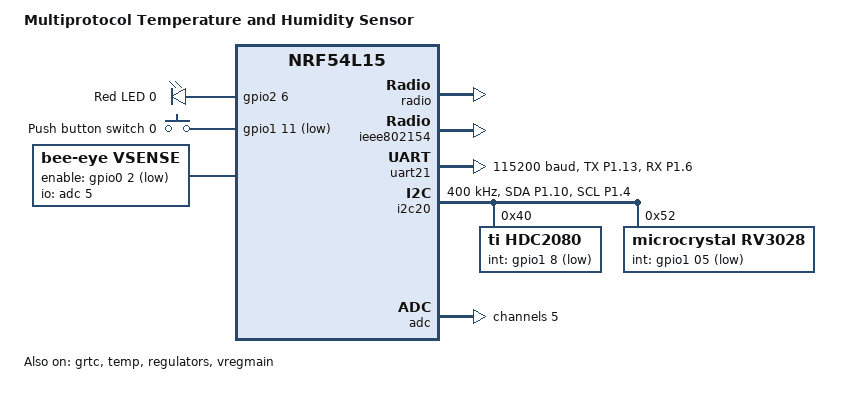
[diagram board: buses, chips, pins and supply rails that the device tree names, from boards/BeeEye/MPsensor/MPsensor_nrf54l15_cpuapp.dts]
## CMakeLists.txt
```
cmake_minimum_required(VERSION 3.20.0)


set(BEE_MANUFACTURER_NAME "BeeEye")
set(BEE_MODEL_ID "MPsensor")


# Generate compile_commands.json for C/C++ Extension
set(CMAKE_EXPORT_COMPILE_COMMANDS ON)

find_package(Zephyr REQUIRED HINTS $ENV{ZEPHYR_BASE})

project(microsensor)

# Version object library (no linking overhead)
add_library(version_obj OBJECT src/version.c)
target_link_libraries(version_obj PRIVATE zephyr_interface)

target_compile_definitions(version_obj PRIVATE
    BEE_MANUFACTURER_NAME="${BEE_MANUFACTURER_NAME}"
    BEE_MODEL_ID="${BEE_MODEL_ID}"
)

file(GLOB app_sources CONFIGURE_DEPENDS
    src/main.c        
    src/ble_server.c  
    src/rtc.c                
    src/deep_sleep.c  
    src/rtc_rv3028_addons.c  
    src/vsense.c    
    src/sensor_hdc2080.c     
    src/zigbee_sensor.c
)

target_sources(app PRIVATE ${app_sources})
target_link_libraries(app PRIVATE version_obj)

# Strict compile checks
target_compile_options(app PRIVATE
    -Wall
    -Wextra

    # 1) No implicit function declarations
    -Werror=implicit-function-declaration

    # 2) Non-void function must return on all paths
    -Werror=return-type
)
```

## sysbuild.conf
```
SB_CONFIG_PARTITION_MANAGER=y
SB_CONFIG_BOOTLOADER_MCUBOOT=y
SB_CONFIG_BOOT_SIGNATURE_TYPE_ECDSA_P256=y
SB_CONFIG_BOOT_SIGNATURE_TYPE_RSA=n
SB_CONFIG_BOOT_SIGNATURE_KEY_FILE="\${APPLICATION_CONFIG_DIR}/key.pem"
```

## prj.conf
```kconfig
# Peripherals I need
CONFIG_GPIO=y
CONFIG_SENSOR=y
CONFIG_RTC=y
CONFIG_RTC_ALARM=y
CONFIG_I2C=y
CONFIG_ADC=y
CONFIG_ADC_NRFX_SAADC=y

# BLE
CONFIG_BT=y
CONFIG_BT_HCI=y
CONFIG_BT_CTLR=y
CONFIG_BT_EXT_ADV=y
# CONFIG_BT_PER_ADV=y
# CONFIG_BT_BROADCASTER=y
CONFIG_BT_PERIPHERAL=y
CONFIG_BT_DEVICE_NAME="BeeEyeSensor"
CONFIG_BT_DEVICE_APPEARANCE=833
CONFIG_BT_LL_SOFTDEVICE=y
# CONFIG_BT_CTLR_ADVANCED_FEATURES=y
# CONFIG_BT_CTLR_TX_PWR_DYNAMIC_CONTROL=y

# Sytem options
# CONFIG_CLOCK_CONTROL_NRF_K32SRC_XTAL=y
# CONFIG_CLOCK_CONTROL_NRF_K32SRC_RC=n
# CONFIG_CLOCK_CONTROL_NRF_K32SRC_SYNTH=n
CONFIG_NRF_GRTC_START_SYSCOUNTER=y
CONFIG_POWEROFF=y
CONFIG_REBOOT=y
CONFIG_HWINFO=y
CONFIG_PM_DEVICE=y
CONFIG_TICKLESS_KERNEL=y
CONFIG_MINIMAL_LIBC=y
CONFIG_MINIMAL_LIBC_TIME=y
CONFIG_SYSTEM_WORKQUEUE_STACK_SIZE=2304
CONFIG_MAIN_STACK_SIZE=2176
CONFIG_HEAP_MEM_POOL_SIZE=2048
CONFIG_MAIN_THREAD_PRIORITY=7

# Disable features I don't need
CONFIG_SPI=n
CONFIG_PWM=n

# UART
CONFIG_SERIAL=y
CONFIG_UART_INTERRUPT_DRIVEN=y

# LOGGGY
CONFIG_CONSOLE=y
CONFIG_UART_CONSOLE=y
CONFIG_PRINTK=y
CONFIG_LOG=y
# CONFIG_ASSERT=y
# CONFIG_ASSERT_VERBOSE=y

## Configure MCU MGR for FOTA over BLE ##
CONFIG_BOOTLOADER_MCUBOOT=y
CONFIG_MCUMGR=y
CONFIG_MCUMGR_TRANSPORT_BT=y
CONFIG_MCUMGR_GRP_IMG=y
CONFIG_MCUMGR_GRP_OS=y
CONFIG_IMG_MANAGER=y
CONFIG_FLASH=y
CONFIG_FLASH_MAP=y
CONFIG_STREAM_FLASH=y
CONFIG_NET_BUF=y
CONFIG_ZCBOR=y
CONFIG_CRC=y
CONFIG_BT_BUF_ACL_RX_SIZE=251
CONFIG_BT_BUF_ACL_TX_SIZE=251
CONFIG_BT_L2CAP_TX_MTU=247
CONFIG_BT_CTLR_DATA_LENGTH_MAX=251

## Zigbee R23 add-on
CONFIG_ZIGBEE_ADD_ON=y
CONFIG_ZIGBEE_APP_UTILS=y
CONFIG_ZIGBEE_ROLE_END_DEVICE=y
CONFIG_ZIGBEE_CHANNEL_SELECTION_MODE_MULTI=y
CONFIG_ZIGBEE_CHANNEL_MASK=0x00000800

## Persistent storage (Zigbee NVRAM)
CONFIG_SETTINGS=y
CONFIG_FLASH=y
CONFIG_FLASH_PAGE_LAYOUT=y
CONFIG_FLASH_MAP=y
CONFIG_ZMS=y
CONFIG_BT_SETTINGS=n

## Disable IPv6 (or everything crashes)
CONFIG_NET_IPV6=n
CONFIG_NET_IP_ADDR_CHECK=n
CONFIG_NET_UDP=n
```

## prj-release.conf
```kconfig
# Peripherals I need
CONFIG_GPIO=y
CONFIG_SENSOR=y
CONFIG_RTC=y
CONFIG_RTC_ALARM=y
CONFIG_I2C=y
CONFIG_ADC=y
CONFIG_ADC_NRFX_SAADC=y

# BLE
CONFIG_BT=y
CONFIG_BT_HCI=y
CONFIG_BT_CTLR=y
CONFIG_BT_EXT_ADV=y
# CONFIG_BT_PER_ADV=y
# CONFIG_BT_BROADCASTER=y
CONFIG_BT_PERIPHERAL=y
CONFIG_BT_DEVICE_NAME="BeeEyeSensor"
CONFIG_BT_DEVICE_APPEARANCE=833
CONFIG_BT_LL_SOFTDEVICE=y
# CONFIG_BT_CTLR_ADVANCED_FEATURES=y
# CONFIG_BT_CTLR_TX_PWR_DYNAMIC_CONTROL=y

# Sytem options
# CONFIG_CLOCK_CONTROL_NRF_K32SRC_XTAL=y
# CONFIG_CLOCK_CONTROL_NRF_K32SRC_RC=n
# CONFIG_CLOCK_CONTROL_NRF_K32SRC_SYNTH=n
CONFIG_NRF_GRTC_START_SYSCOUNTER=y
CONFIG_POWEROFF=y
CONFIG_REBOOT=y
CONFIG_HWINFO=y
CONFIG_PM_DEVICE=y
CONFIG_TICKLESS_KERNEL=y
CONFIG_MINIMAL_LIBC=y
CONFIG_MINIMAL_LIBC_TIME=y
CONFIG_SYSTEM_WORKQUEUE_STACK_SIZE=2304
CONFIG_MAIN_STACK_SIZE=2176
CONFIG_HEAP_MEM_POOL_SIZE=2048
CONFIG_MAIN_THREAD_PRIORITY=7

# Disable features I don't need
CONFIG_SPI=n
CONFIG_PWM=n

# UART
CONFIG_SERIAL=n

# LOGGGY
CONFIG_CONSOLE=n
CONFIG_UART_CONSOLE=n
CONFIG_PRINTK=y
CONFIG_LOG=n
# CONFIG_ASSERT=y
# CONFIG_ASSERT_VERBOSE=y

## Configure MCU MGR for FOTA over BLE ##
CONFIG_BOOTLOADER_MCUBOOT=y
CONFIG_MCUMGR=y
CONFIG_MCUMGR_TRANSPORT_BT=y
CONFIG_MCUMGR_GRP_IMG=y
CONFIG_MCUMGR_GRP_OS=y
CONFIG_IMG_MANAGER=y
CONFIG_FLASH=y
CONFIG_FLASH_MAP=y
CONFIG_STREAM_FLASH=y
CONFIG_NET_BUF=y
CONFIG_ZCBOR=y
CONFIG_CRC=y
CONFIG_BT_BUF_ACL_RX_SIZE=251
CONFIG_BT_BUF_ACL_TX_SIZE=251
CONFIG_BT_L2CAP_TX_MTU=247
CONFIG_BT_CTLR_DATA_LENGTH_MAX=251

## Zigbee R23 add-on
CONFIG_ZIGBEE_ADD_ON=y
CONFIG_ZIGBEE_APP_UTILS=y
CONFIG_ZIGBEE_ROLE_END_DEVICE=y
CONFIG_ZIGBEE_CHANNEL_SELECTION_MODE_MULTI=y
CONFIG_ZIGBEE_CHANNEL_MASK=0x00000800

## Persistent storage (Zigbee NVRAM)
CONFIG_SETTINGS=y
CONFIG_FLASH=y
CONFIG_FLASH_PAGE_LAYOUT=y
CONFIG_FLASH_MAP=y
CONFIG_ZMS=y
CONFIG_BT_SETTINGS=n

## Disable IPv6 (or everything crashes)
CONFIG_NET_IPV6=n
CONFIG_NET_IP_ADDR_CHECK=n
CONFIG_NET_UDP=n
```

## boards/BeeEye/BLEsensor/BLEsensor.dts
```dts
/dts-v1/;
#include <nordic/nrf52811_qfaa.dtsi>

/ {
	model = "BLEsensors";
	compatible = "nordic,nrf52811";

	chosen {
		zephyr,console = &uart0;
		zephyr,sram = &sram0;
		zephyr,flash = &flash0;
		zephyr,code-partition = &slot0_partition;
	};

	leds {
		compatible = "gpio-leds";

		led0: led_0 {
			gpios = <&gpio0 11 GPIO_ACTIVE_HIGH>;
			label = "Red LED 0";
		};
	};

	buttons {
		compatible = "gpio-keys";

		button0: button_0 {
			gpios = <&gpio0 9 GPIO_ACTIVE_LOW>; // External pull-up
			label = "Push button switch 0";
			zephyr,code = <INPUT_KEY_0>;
		};
	};
};

// &clock {
// 	status = "okay";
// 	lfclk {
// 		source = "LFRC";
// 		cal-enabled = <1>;
// 	};
// };

&reg {
	regulator-initial-mode = <NRF5X_REG_MODE_DCDC>;
};

&uicr {
	gpio-as-nreset;
};

&gpiote {
	status = "okay";
};

&gpio0 {
	status = "okay";
};

&pinctrl {
    i2c0_default: i2c0_default {
        group1 {
            psels = <NRF_PSEL(TWIM_SDA, 0, 26)>,
                    <NRF_PSEL(TWIM_SCL, 0, 28)>;
        };
    };
    i2c0_sleep: i2c0_sleep {
        group1 {
            psels = <NRF_PSEL(TWIM_SDA, 0, 26)>,
                    <NRF_PSEL(TWIM_SCL, 0, 28)>;
            low-power-enable;
        };
    };

	/* UART0 */
    uart0_default: uart0_default {
        group1 {
            psels = <NRF_PSEL(UART_TX, 0, 5)>,
                    <NRF_PSEL(UART_RX, 0, 7)>;
        };
    };

    uart0_sleep: uart0_sleep {
        group1 {
            psels = <NRF_PSEL(UART_TX, 0, 5)>,
                    <NRF_PSEL(UART_RX, 0, 7)>;
            low-power-enable;
        };
    };
};

&uart0 {
    compatible = "nordic,nrf-uarte";
    pinctrl-0 = <&uart0_default>;
    pinctrl-1 = <&uart0_sleep>;
    pinctrl-names = "default", "sleep";
    status = "okay";
	current-speed = <115200>;
};

&i2c0 {
    status = "okay";
	pinctrl-0 = <&i2c0_default>;
    pinctrl-1 = <&i2c0_sleep>;
    pinctrl-names = "default", "sleep";
    clock-frequency = <I2C_BITRATE_STANDARD>;  /* 100 kHz */

    /* HDC2080 temperature & humidity sensor */
    hdc2080@40 {
		status = "okay";
        compatible = "ti,hdc2080";
        reg = <0x40>;
        int-gpios = <&gpio0 25 (GPIO_PULL_UP | GPIO_ACTIVE_LOW)>;
        label = "HDC2080";
		zephyr,deferred-init;
    };

    /* RV-3028-C7 real-time clock */
    rv3028: rv3028@52 {
		status = "okay";
        compatible = "microcrystal,rv3028";
        reg = <0x52>;
        int-gpios = <&gpio0 30 (GPIO_PULL_UP | GPIO_ACTIVE_LOW)>;
        label = "RV3028";
		backup-switch-mode = "disabled";
		trickle-resistor-ohms = <15000>;
		zephyr,deferred-init;
    };
};


&flash0 {
	partitions {
		compatible = "fixed-partitions";
		#address-cells = <1>;
		#size-cells = <1>;

		boot_partition: partition@0 {
			label = "mcuboot";
			reg = <0x00000000 0xc000>;
		};

		slot0_partition: partition@c000 {
			label = "image-0";
			reg = <0x0000C000 0xe000>;
		};

		slot1_partition: partition@1a000 {
			label = "image-1";
			reg = <0x0001a000 0xe000>;
		};

		storage_partition: partition@28000 {
			label = "storage";
			reg = <0x00028000 0x00008000>;
		};
	};
};
```

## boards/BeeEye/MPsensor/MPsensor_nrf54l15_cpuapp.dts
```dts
/dts-v1/;
#include <nordic/nrf54l15_cpuapp.dtsi>
#include "MPsensor-pinctrl.dtsi"

/ {
	model = "Multiprotocol Temperature and Humidity Sensor";
	compatible = "bee-eye,MPsensor-cpuapp";

	chosen {
		zephyr,console = &uart21;
		zephyr,code-partition = &slot0_partition;
		zephyr,sram = &cpuapp_sram;
		zephyr,flash = &cpuapp_rram;
		zephyr,flash-controller = &rram_controller;
	};

	leds {
		compatible = "gpio-leds";

		led0: led_0 {
			gpios = <&gpio2 6 GPIO_ACTIVE_HIGH>;
			label = "Red LED 0";
		};
	};

	buttons {
		compatible = "gpio-keys";

		button0: button_0 {
			gpios = <&gpio1 11 GPIO_ACTIVE_LOW>; // External pull-up
			label = "Push button switch 0";
			zephyr,code = <INPUT_KEY_0>;
		};
	};

	vsense: vsense {
        compatible = "bee-eye,vsense";
        enable-gpios = <&gpio0 2 GPIO_ACTIVE_LOW>;
        io-channels = <&adc 5>; /* example channel index */
        label = "VSENSE";
    };
};

&grtc {
	owned-channels = <0 1 2 3 4 5 6 7 8 9 10 11>;
	/* Channels 7-11 reserved for Zero Latency IRQs, 3-4 for FLPR */
	child-owned-channels = <3 4 7 8 9 10 11>;
	status = "okay";
};

&clock {
	status = "okay";
};

&radio {
	status = "okay";
};

&ieee802154 {
	status = "okay";
};

&temp {
	status = "okay";
};

// &gpregret1 {
// 	status = "okay";

// 	boot_mode0: boot_mode@0 {
// 		compatible = "zephyr,retention";
// 		status = "okay";
// 		reg = <0x0 0x1>;
// 	};
// };

&uart21 {
	status = "okay";
	pinctrl-0 = <&uart21_default>;
	pinctrl-1 = <&uart21_sleep>;
	pinctrl-names = "default", "sleep";
	current-speed = <115200>;
};

&hfxo {
	load-capacitors = "internal";
	load-capacitance-femtofarad = <14250>;
};

&lfxo {
	load-capacitors = "internal";
	load-capacitance-femtofarad = <4000>;
};

&cpuapp_sram {
	status = "okay";
};

&uicr {
	gpio-as-nreset;
};

&regulators {
	status = "okay";
};

&vregmain {
	status = "okay";
	regulator-initial-mode = <NRF5X_REG_MODE_DCDC>;
};

&gpio0 {
	status = "okay";
};

&gpio1 {
	status = "okay";
};

&gpio2 {
	status = "okay";
};

&gpiote20 {
	status = "okay";
};

&gpiote30 {
	status = "okay";
};

&pinctrl {
	/* I2C: i2c0 -> i2c20 */
	/omit-if-no-ref/ i2c20_default: i2c20_default {
		group1 {
			psels = <NRF_PSEL(TWIM_SDA, 1, 10)>, <NRF_PSEL(TWIM_SCL, 1, 4)>;
		};
	};

	/omit-if-no-ref/ i2c20_sleep: i2c20_sleep {
		group1 {
			psels = <NRF_PSEL(TWIM_SDA, 1, 10)>, <NRF_PSEL(TWIM_SCL, 1, 4)>;
			low-power-enable;
		};
	};

	/omit-if-no-ref/ uart21_default: uart21_default {
		group1 {
			psels = <NRF_PSEL(UART_TX, 1, 13)>, <NRF_PSEL(UART_RX, 1, 6)>;
		};
	};

	/omit-if-no-ref/ uart21_sleep: uart21_sleep {
		group1 {
			psels = <NRF_PSEL(UART_TX, 1, 13)>, <NRF_PSEL(UART_RX, 1, 6)>;
			low-power-enable;
		};
	};
};

&i2c20 {
    status = "okay";
	pinctrl-0 = <&i2c20_default>;
    pinctrl-1 = <&i2c20_sleep>;
    pinctrl-names = "default", "sleep";
    clock-frequency = <I2C_BITRATE_FAST>;  

    /* HDC2080 temperature & humidity sensor */
    hdc2080: hdc2080@40 {
		status = "okay";
        compatible = "ti,hdc2080";
        reg = <0x40>;
        int-gpios = <&gpio1 8 (GPIO_PULL_UP | GPIO_ACTIVE_LOW)>;
        zephyr,deferred-init;		
    };

    /* RV-3028-C7 real-time clock */
    rv3028: rv3028@52 {
		status = "okay";
        compatible = "microcrystal,rv3028";
        reg = <0x52>;
        int-gpios = <&gpio1 05 (GPIO_PULL_UP | GPIO_ACTIVE_LOW)>;
		backup-switch-mode = "disabled";
		zephyr,deferred-init;
    };
};

&adc {
    status = "okay";
	#address-cells = <1>;
    #size-cells = <0>;

    channel@5 {
        reg = <5>;                               /* channel index */
        zephyr,gain = "ADC_GAIN_1";                  /* choose what you need */
        zephyr,reference = "ADC_REF_INTERNAL";            /* 0.6V ref */
        zephyr,acquisition-time = <ADC_ACQ_TIME_DEFAULT>;
        zephyr,input-positive = <NRF_SAADC_AIN5>;
        zephyr,resolution = <14>;                 /* 14-bit recommended */
    };
};



#include "partition.dtsi"
```

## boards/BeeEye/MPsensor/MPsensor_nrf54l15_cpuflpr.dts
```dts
/dts-v1/;
#include <nordic/nrf54l15_cpuflpr.dtsi>
#include "MPsensor-pinctrl.dtsi"

/ {
	model = "Multiprotocol Temperature and Humidity Sensor";
	compatible = "BeeEye,MPsensor-cpuflpr";

	chosen {
		zephyr,code-partition = &cpuflpr_code_partition;
		zephyr,flash = &cpuflpr_rram;
		zephyr,sram = &cpuflpr_sram;
	};
};

&cpuflpr_sram {
	status = "okay";
	reg = <0x20028000 DT_SIZE_K(96)>;
	ranges = <0x0 0x20028000 DT_SIZE_K(96)>;
};

&cpuflpr_rram {
	partitions {
		compatible = "fixed-partitions";
		#address-cells = <1>;
		#size-cells = <1>;

		cpuflpr_code_partition: partition@0 {
			label = "image-0";
			reg = <0x0 DT_SIZE_K(96)>;
		};
	};
};

&grtc {
	owned-channels = <3 4>;
	status = "okay";
};
```

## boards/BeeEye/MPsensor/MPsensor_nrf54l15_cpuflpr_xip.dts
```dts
#include "MPsensor_nrf54l15_cpuflpr.dts"

/ {
	compatible = "BeeEye,MPsensor-cpuflpr-xip";
};

&cpuflpr_sram {
	reg = <0x2002f000 DT_SIZE_K(68)>;
	ranges = <0x0 0x2002f000 DT_SIZE_K(68)>;
};
```

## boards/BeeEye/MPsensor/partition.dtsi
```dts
&cpuapp_rram {
	partitions {
		compatible = "fixed-partitions";
		#address-cells = <1>;
		#size-cells = <1>;

		boot_partition: partition@0 {
			label = "mcuboot";
			reg = <0x0 DT_SIZE_K(64)>;
		};

		slot0_partition: partition@10000 {
			label = "image-0";
			reg = <0x10000 DT_SIZE_K(664)>;
		};

		slot1_partition: partition@b6000 {
			label = "image-1";
			reg = <0xb6000 DT_SIZE_K(664)>;
		};

		storage_partition: partition@15c000 {
			label = "storage";
			reg = <0x15c000 DT_SIZE_K(36)>;
		};
	};
};
```

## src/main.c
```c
#include "ble_server.h"
#include "rtc.h"
#include "vsense.h"
#include "deep_sleep.h"
#include "sensor_hdc2080.h"
#include "zigbee_sensor.h"

#include <zephyr/kernel.h>
#include <zephyr/logging/log.h>
#include <zephyr/drivers/gpio.h>
#include <zephyr/device.h>
#include <zephyr/devicetree.h>
#include <zephyr/pm/pm.h>
#include <zephyr/sys/reboot.h>
#include <zephyr/drivers/hwinfo.h>
#include <zephyr/dfu/mcuboot.h>
#include <zephyr/settings/settings.h>


LOG_MODULE_REGISTER(app_main, LOG_LEVEL_DBG);

static const struct gpio_dt_spec pair_button = GPIO_DT_SPEC_GET(DT_NODELABEL(button0), gpios);
static const struct gpio_dt_spec led = GPIO_DT_SPEC_GET(DT_NODELABEL(led0), gpios);

static bool pair_button_is_pressed(void);
static int blink(int count, int duration);
static int megablink(int countA, int countB, int spacing);
static int confirm_image_once(void);
static void blink_and_restart(int ser_num);
static bool get_is_low_power_wake(void);
static int initialize_peripherals(bool fast);
static int configure_button0_as_reset(void);
static int user_menu(void);
static int save_device_mode(void);

int device_mode = 1;

void main(void)
{
    int ret = 0;
    const bool is_lp_wake = get_is_low_power_wake();

    ret = initialize_peripherals(is_lp_wake);
    if (ret) {
        blink_and_restart(3);
        return;
    }

    confirm_image_once();    

    k_msleep(300);
    if(pair_button_is_pressed()) {
        user_menu();
    }
    
    if (device_mode == 0) {
        LOG_INF("Device is in BLE mode");
        bool pairing_mode = is_lp_wake || pair_button_is_pressed();
        if(btadv(pairing_mode)) {
            blink_and_restart(4);
            return;
        }

        ret = enter_deep_sleep();
        if(ret) {
            blink_and_restart(5);
        }
    } else {
        LOG_INF("Device is in ZigBee mode");
        zigbee_sensor_start();
        configure_button0_as_reset();
    }

    return;
}

static bool pair_button_is_pressed(void)
{
    int v = gpio_pin_get_dt(&pair_button);
    return v > 0;   /* logical active level */
}

static int blink(int count, int duration) {
    #ifndef NOBLINK
    if (!device_is_ready(led.port)) return -ENODEV;

    gpio_pin_configure_dt(&led, GPIO_OUTPUT_INACTIVE);
    for(int i=0;i<count;++i) {
        gpio_pin_configure_dt(&led, GPIO_OUTPUT_ACTIVE);
        k_msleep(duration);
        gpio_pin_configure_dt(&led, GPIO_OUTPUT_INACTIVE);
        k_msleep(duration);
    }
    #endif
    
    return 0;
}

static int megablink(int countA, int countB, int spacing) {
    #ifndef NOBLINK
    for(int i=0;i<countB;++i) {
        blink(countA, 200);
        k_msleep(spacing);
    }
    #endif
    return 0;
}

static int confirm_image_once(void)
{
    int rc;

    if (boot_is_img_confirmed()) {
        return 0;
    }

    rc = boot_write_img_confirmed();
    if (rc) {
        return rc;
    }

    return 0;
}

static void blink_and_restart(int ser_num) {
    megablink(ser_num, 3, 300);
    k_msleep(5000);
    sys_reboot(SYS_REBOOT_COLD);
    while(1) {
        k_sleep(K_FOREVER);
    }
}

static bool get_is_low_power_wake(void) {
    uint32_t reset_cause = 0;
    int ret = hwinfo_get_reset_cause(&reset_cause);
    if (ret == 0) {
        hwinfo_clear_reset_cause();
    }

    return reset_cause & RESET_LOW_POWER_WAKE;
}

static int initialize_peripherals(bool fast) {
    int ret = 0;

    settings_subsys_init();
    settings_load();

    ret = rtc_init(!fast);
    if (ret) {
        LOG_ERR("RTC init failed: %d", ret);
    }

    ret = hdc2080_init();
    if (ret) {
        LOG_ERR("HDC2080 init failed: %d", ret);
    }

	if (!gpio_is_ready_dt(&pair_button)) {
		LOG_ERR("button0 GPIO not ready");
		return -ENODEV;
	}

	ret = gpio_pin_configure_dt(&pair_button, GPIO_INPUT);
	if (ret) {
		LOG_ERR("button0 configure failed (%d)", ret);
		return ret;
	}

    if (!fast) {
        LOG_INF("Normal boot");
        blink(1, 200);  // indicator that thing is working

        ret = enable_rtc_pit(SENSOR_TRANSMIT_PERIOD);
        if(ret) {
            LOG_ERR("RTC PIT init failed");
            // return ret;
            return 0; // DO NOT COMMIT
        }        
    } else {
        LOG_INF("Fast boot (wake from System off)");
    }


    return 0;
}

static struct gpio_callback button0_cb;
static void button0_reset_callback(const struct device *dev, struct gpio_callback *cb, uint32_t pins)
{
	ARG_UNUSED(dev);
	ARG_UNUSED(cb);
	ARG_UNUSED(pins);
	sys_reboot(SYS_REBOOT_COLD);
}

static int configure_button0_as_reset(void)
{
	int rc;

	if (!gpio_is_ready_dt(&pair_button)) {
		LOG_ERR("button0 GPIO not ready");
		return -ENODEV;
	}

	rc = gpio_pin_configure_dt(&pair_button, GPIO_INPUT);
	if (rc) {
		LOG_ERR("button0 configure failed (%d)", rc);
		return rc;
	}

	rc = gpio_pin_interrupt_configure_dt(&pair_button, GPIO_INT_EDGE_TO_ACTIVE);
	if (rc) {
		LOG_ERR("button0 interrupt configure failed (%d)", rc);
		return rc;
	}

	gpio_init_callback(&button0_cb, button0_reset_callback, BIT(pair_button.pin));
	gpio_add_callback(pair_button.port, &button0_cb);

    return 0;
}

static int user_menu(void)
{
    LOG_INF("Entering mode select...");
    int64_t start;

    /* --- Initial 5s wait --- */
    start = k_uptime_get();
    while (k_uptime_get() - start < 5000) {
        if (!pair_button_is_pressed()) {
            LOG_INF("Entering mode select aborted");
            return 0;
        }
        k_msleep(50);
    }

    while (pair_button_is_pressed()) {
        blink(1, 50);
        k_msleep(50);
    }

    LOG_INF("Entered mode select.");

    /* --- Menu loop --- */
    start = k_uptime_get();
    while (1) {

        /* Indicate current mode */
        if (device_mode == 0) {
            megablink(1, 1, 100); /* BLE */
        } else {
            megablink(2, 1, 100); /* ZigBee */
        }

        /* Short window to catch button press */
        int64_t poll_start = k_uptime_get();
        while (k_uptime_get() - poll_start < 200) {
            if (pair_button_is_pressed()) {
                device_mode = !device_mode;   /* toggle */
                save_device_mode();
                start = k_uptime_get();       /* reset inactivity timer */

                /* debounce: wait release */
                while (pair_button_is_pressed()) {
                    k_msleep(20);
                }
                break;
            }
            k_msleep(20);
        }

        /* Exit after 5s inactivity */
        if (k_uptime_get() - start >= 5000) {
            blink(1, 1000);
            return 0;
        }
    }
}

static int settings_set(const char *name, size_t len_rd,
                        settings_read_cb read_cb, void *cb_arg)
{
    if (strcmp(name, "mode") == 0) {
        if (len_rd != sizeof(device_mode)) {
            return -EINVAL;
        }
        int rc = read_cb(cb_arg, &device_mode, sizeof(device_mode));
        return (rc >= 0) ? 0 : rc;
    }

    return -ENOENT;
}

SETTINGS_STATIC_HANDLER_DEFINE(device, "device", NULL, settings_set, NULL, NULL);

static int save_device_mode(void)
{
    LOG_INF("Saving device mode = %d", device_mode);
    return settings_save_one("device/mode", &device_mode, sizeof(device_mode));
}
```

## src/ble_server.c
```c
#include "ble_server.h"
#include "sensor_hdc2080.h"
#include "rtc.h"
#include "vsense.h"

#include <zephyr/kernel.h>
#include <zephyr/logging/log.h>
#include <zephyr/sys/byteorder.h>
#include <zephyr/bluetooth/bluetooth.h>
#include <zephyr/bluetooth/hci.h>
#include <zephyr/bluetooth/hci_vs.h>
#include <zephyr/bluetooth/gatt.h>
#include <zephyr/sys/byteorder.h>

LOG_MODULE_REGISTER(app_ble_server, LOG_LEVEL_DBG);

// int adv_set_tx_power(struct bt_le_ext_adv *adv, int8_t dbm)
// {
//     struct net_buf *buf, *rsp = NULL;
//     struct bt_hci_cp_vs_write_tx_power_level *cp;
//     int err;

//     uint16_t handle = bt_le_ext_adv_get_index(adv); // adv handle (per set)

//     buf = bt_hci_cmd_create(BT_HCI_OP_VS_WRITE_TX_POWER_LEVEL, sizeof(*cp));
//     if (!buf) return -ENOBUFS;

//     cp = net_buf_add(buf, sizeof(*cp));
//     cp->handle_type   = BT_HCI_VS_LL_HANDLE_TYPE_ADV;
//     cp->handle        = sys_cpu_to_le16(handle);
//     cp->tx_power_level = dbm;     // e.g. 0, -4, -8 ... (SDC rounds to supported)

//     err = bt_hci_cmd_send_sync(BT_HCI_OP_VS_WRITE_TX_POWER_LEVEL, buf, &rsp);
//     if (rsp) net_buf_unref(rsp);
//     return err;
// }


static K_SEM_DEFINE(adv_done, 0, 1);

static void adv_sent(struct bt_le_ext_adv *adv,
                     struct bt_le_ext_adv_sent_info *info)
{
    k_sem_give(&adv_done);
}

static void adv_connected(struct bt_le_ext_adv *adv,
			  struct bt_le_ext_adv_connected_info *info) {
    LOG_DBG("BLE connection");
}

static const struct bt_le_ext_adv_cb adv_cb = {
    .sent = adv_sent,
    .connected = adv_connected
};

struct bt_le_adv_param adv_param_normal = {
    .id = BT_ID_DEFAULT,
    .sid = 0,
    .secondary_max_skip = 0,
    .interval_min = BT_GAP_ADV_FAST_INT_MIN_2,
    .interval_max = BT_GAP_ADV_FAST_INT_MAX_2,
    .options = BT_LE_ADV_OPT_USE_IDENTITY | BT_LE_ADV_OPT_EXT_ADV 
};

struct bt_le_adv_param adv_param_pair = {
    .id = BT_ID_DEFAULT,
    .sid = 0,
    .secondary_max_skip = 0,
    .interval_min = BT_GAP_ADV_FAST_INT_MIN_2,
    .interval_max = BT_GAP_ADV_FAST_INT_MAX_2,
    .options = BT_LE_ADV_OPT_USE_IDENTITY | BT_LE_ADV_OPT_EXT_ADV | BT_LE_ADV_OPT_CONNECTABLE | BT_LE_ADV_OPT_ONE_TIME
};

/* Characteristic storage */
static int16_t g_temperature = 0;
static int16_t g_humidity = 0;

/* Read callbacks */
static ssize_t read_temperature(struct bt_conn *conn, const struct bt_gatt_attr *attr, void *buf, uint16_t len, uint16_t offset)
{
    return bt_gatt_attr_read(conn, attr, buf, len, offset, &g_temperature, sizeof(g_temperature));
}

static ssize_t read_humidity(struct bt_conn *conn, const struct bt_gatt_attr *attr, void *buf, uint16_t len, uint16_t offset)
{
    return bt_gatt_attr_read(conn, attr, buf, len, offset, &g_humidity, sizeof(g_humidity));
}

static ssize_t read_timestamp(struct bt_conn *conn, const struct bt_gatt_attr *attr, void *buf, uint16_t len, uint16_t offset)
{
    uint32_t ts = 0;
    get_rtc_unix_time(&ts);
    return bt_gatt_attr_read(conn, attr, buf, len, offset, &ts, sizeof(ts));
}

static ssize_t read_currenttime(struct bt_conn *conn, const struct bt_gatt_attr *attr, void *buf, uint16_t len, uint16_t offset)
{
    struct cts_current_time cts;
    memset(&cts, 0, sizeof(cts));
    get_rtc_cts_time(&cts);
    return bt_gatt_attr_read(conn, attr, buf, len, offset, &cts, sizeof(cts));
}


/* Write callbacks */
static ssize_t write_timestamp(struct bt_conn *conn,
                        const struct bt_gatt_attr *attr,
                        const void *buf, uint16_t len, uint16_t offset, uint8_t flags)
{
    if (offset != 0 || len != sizeof(uint32_t)) {
        return BT_GATT_ERR(BT_ATT_ERR_INVALID_ATTRIBUTE_LEN);
    }

    uint32_t timestamp = sys_get_le32(buf);
    LOG_DBG("Writing timestamp: %u", timestamp);
    set_rtc_unix_time(timestamp);

    return len;
}

static ssize_t write_currenttime(struct bt_conn *conn,
                        const struct bt_gatt_attr *attr,
                        const void *buf, uint16_t len, uint16_t offset, uint8_t flags)
{
    if (offset != 0 || len != sizeof(struct cts_current_time)) {
        return BT_GATT_ERR(BT_ATT_ERR_INVALID_ATTRIBUTE_LEN);
    }

    const struct cts_current_time *time = buf;
    LOG_DBG("Writing current time: %04u-%02u-%02u %02u:%02u:%02u",
            sys_le16_to_cpu(time->year),
            time->month,
            time->day,
            time->hours,
            time->minutes,
            time->seconds);
    set_rtc_cts_time(time);

    return len;
}

/* UUIDs */
#define BT_UUID_MY_SERVICE_VAL 0x12,0x34,0x00,0x01,0x00,0x00,0x10,0x00,0x80,0x00,0x00,0x80,0x5F,0x9B,0x34,0xFB
#define BT_UUID_MY_SERVICE       BT_UUID_DECLARE_128(BT_UUID_MY_SERVICE_VAL)
#define BT_UUID_TEMP_CHAR        BT_UUID_DECLARE_128(0x12,0x34,0x00,0x02,0x00,0x00,0x10,0x00,0x80,0x00,0x00,0x80,0x5F,0x9B,0x34,0xFB)
#define BT_UUID_HUMID_CHAR       BT_UUID_DECLARE_128(0x12,0x34,0x00,0x03,0x00,0x00,0x10,0x00,0x80,0x00,0x00,0x80,0x5F,0x9B,0x34,0xFB)
#define BT_UUID_TIME_CHAR        BT_UUID_DECLARE_128(0x12,0x34,0x00,0x04,0x00,0x00,0x10,0x00,0x80,0x00,0x00,0x80,0x5F,0x9B,0x34,0xFB)

/* Service declaration */
BT_GATT_SERVICE_DEFINE(sensor_service,
    BT_GATT_PRIMARY_SERVICE(BT_UUID_MY_SERVICE),

    BT_GATT_CHARACTERISTIC(BT_UUID_TEMP_CHAR,
                           BT_GATT_CHRC_READ,
                           BT_GATT_PERM_READ,
                           read_temperature, NULL, NULL),

    BT_GATT_CHARACTERISTIC(BT_UUID_HUMID_CHAR,
                           BT_GATT_CHRC_READ,
                           BT_GATT_PERM_READ,
                           read_humidity, NULL, NULL),

    BT_GATT_CHARACTERISTIC(BT_UUID_TIME_CHAR,
                           BT_GATT_CHRC_READ | BT_GATT_CHRC_WRITE,
                           BT_GATT_PERM_READ | BT_GATT_PERM_WRITE,
                           read_timestamp, write_timestamp, NULL)
);

BT_GATT_SERVICE_DEFINE(time_service,
    BT_GATT_PRIMARY_SERVICE(BT_UUID_CTS),

    BT_GATT_CHARACTERISTIC(BT_UUID_CTS_CURRENT_TIME,
                           BT_GATT_CHRC_READ | BT_GATT_CHRC_WRITE,
                           BT_GATT_PERM_READ | BT_GATT_PERM_WRITE,
                           read_currenttime, write_currenttime, NULL)
);

#define BEEEYE_MAGIC 0xBEEE
struct __attribute__((packed)) ManufacturerData {
    uint16_t            magic;
    int16_t             temp;
    int16_t             hum;
    uint32_t            nextWindow;
    uint16_t            batteryMilliVolt;
} manufacturerData;

static char name[32];
int set_adv_data(struct bt_le_ext_adv *adv) {
    int err = 0;
    int16_t temp = 0;
    int16_t hum = 0;
    uint16_t mv = 0;
    // Build manufacturer data
    if(manufacturerData.magic == 0) {
        manufacturerData.magic = BEEEYE_MAGIC;
        err = hdc2080_get_temp_humidity_x256(&temp, &hum);
        if(err) {
            LOG_ERR("Couldn't read sensor: %d", err);
            return err;
        } else {
            manufacturerData.temp = temp;
            manufacturerData.hum = hum;
        }

        err = vsense_measure_mv(&mv);
        if(err) {
            LOG_ERR("Couldn't get battery voltage %d", err);
        } else {
            manufacturerData.batteryMilliVolt = mv;
        }
    }

    uint16_t timer_status = 0;
    if(get_rtc_pit_timer_status(&timer_status)) {
        LOG_ERR("Failed to get RTC time status");
    }
    manufacturerData.nextWindow = ((uint64_t)timer_status) * 15625 / 1000;

    const struct bt_data ad[] = {
        BT_DATA_BYTES(BT_DATA_FLAGS, (BT_LE_AD_GENERAL | BT_LE_AD_NO_BREDR)),
        BT_DATA(BT_DATA_NAME_COMPLETE, name, strlen(name)),
        BT_DATA(BT_DATA_MANUFACTURER_DATA, &manufacturerData, sizeof(manufacturerData)),
        BT_DATA_BYTES(BT_DATA_UUID128_ALL, BT_UUID_MY_SERVICE_VAL)
    };

    err = bt_le_ext_adv_set_data(adv, ad, ARRAY_SIZE(ad), NULL, 0);
    if (err) {
        LOG_ERR("Couldn't set adv data: %d", err);
        return err;
    }
    return 0;
}

static void count_conn_cb(struct bt_conn *conn, void *user_data)
{
    int *count = user_data;

    struct bt_conn_info info;
    if (bt_conn_get_info(conn, &info) != 0) {
        return;
    }

    if (info.type == BT_CONN_TYPE_LE) {
        (*count)++;
    }
}

static int le_conn_count(void)
{
    int count = 0;

    bt_conn_foreach(BT_CONN_TYPE_LE, count_conn_cb, &count);
    return count;
}

int btadv(bool pairing) {
    int err;
    uint8_t addr[6];
    bt_addr_le_t id;
    size_t count = 1;
    struct bt_le_ext_adv *adv = NULL;

    err = bt_enable(NULL);
    if (err) {
        LOG_ERR("Couldn't enable BT: %d", err);
        return err;
    }

    // Get default identity and append last 3 bytes to name
    bt_id_get(&id, &count);
    sys_memcpy_swap(addr, id.a.val, 6);  /* reverse for human-readable */
    snprintk(name, sizeof(name), "BeeEye_%02X%02X%02X", addr[3], addr[4], addr[5]);
    LOG_INF("Announcing as %s", name);

    // Create adv set
    // const struct bt_le_adv_param *adv_param = pairing ? &adv_param_pair : &adv_param_normal;
	err = bt_le_ext_adv_create(&adv_param_pair, &adv_cb, &adv);
	if (err) {
        LOG_ERR("Couldn't create adv: %d", err);
		return err;
	}

    memset(&manufacturerData, 0, sizeof(manufacturerData));
    err = set_adv_data(adv);
    if (err) {
        LOG_ERR("Couldn't set manufacturer data: %d", err);
        return err;
    }

    // Normal adv mode: advertise 4 times
    // "Pairing" adv mode: advertise for 30 seconds
    const struct bt_le_ext_adv_start_param adv_start_normal = BT_LE_EXT_ADV_START_PARAM_INIT(0,4);
    const struct bt_le_ext_adv_start_param adv_start_pairing = BT_LE_EXT_ADV_START_PARAM_INIT(300,0);
    const struct bt_le_ext_adv_start_param *adv_start = pairing ? &adv_start_pairing : &adv_start_normal;
    LOG_DBG("adv start param = {timeout=%dms, num=%d}", adv_start->timeout * 10, adv_start->num_events);
    err = bt_le_ext_adv_start(adv, adv_start);
    if(err) {
        LOG_ERR("Failed to start announce: %d", err);
        return err;
    }

    if(adv_start->num_events != 0) {
        // adv_sent() releases the semaphore
        // k_sem_take(&adv_done, K_FOREVER);
        while(k_sem_take(&adv_done, K_NO_WAIT) == -EBUSY) {
            err = set_adv_data(adv);
            if (err) {
                LOG_ERR("Couldn't set manufacturer data: %d", err);
                return err;
            }
            k_msleep(100);
        }
    } else if(adv_start->timeout != 0) {
        // k_msleep(adv_start->timeout * 10);
        const uint64_t until = k_uptime_get() + adv_start->timeout * 10;
        while(1) {
            err = set_adv_data(adv);
            if (err) {
                LOG_ERR("Couldn't set manufacturer data: %d", err);
                return err;
            }
            const uint64_t now = k_uptime_get();
            if(now >= until) {
                break;
            }
            k_msleep(100);
        }
    }

    err = bt_le_ext_adv_stop(adv);
    if (err && err != -EALREADY) {
        LOG_WRN("bt_le_ext_adv_stop failed: %d", err);        
    }

    while (le_conn_count() > 0) {
        LOG_DBG("Waiting for BLE connection(s) to close...");
        k_msleep(200);
    }

    err = bt_disable();
    if(err) {
        LOG_ERR("Failed to disable BT: %d", err);
        return err;
    }

    return 0;
}
```

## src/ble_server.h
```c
#pragma once
#include <stdbool.h>


#define SENSOR_TRANSMIT_PERIOD 60 // seconds

int btadv(bool pairing);
```

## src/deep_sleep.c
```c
#include "deep_sleep.h"

#include <zephyr/device.h>
#include <zephyr/devicetree.h>
#include <zephyr/drivers/gpio.h>
#include <zephyr/logging/log.h>
#include <zephyr/sys/poweroff.h>
#include <zephyr/kernel.h>

LOG_MODULE_REGISTER(app_dsleep, LOG_LEVEL_DBG);


static const struct gpio_dt_spec btn = GPIO_DT_SPEC_GET(DT_NODELABEL(button0), gpios);
static const struct gpio_dt_spec int_gpio = GPIO_DT_SPEC_GET(DT_NODELABEL(rv3028), int_gpios);

int enter_deep_sleep(void) {
    if (!device_is_ready(int_gpio.port)) {
        LOG_ERR("RTC INT GPIO is not ready");
        return -ENODEV;
    }

    if (!device_is_ready(btn.port)) {
        LOG_ERR("BUTTON GPIO is not ready");
        return -ENODEV;
    }

    // Configure RTC INT wake source
    gpio_pin_configure_dt(&int_gpio, GPIO_INPUT);
    gpio_pin_interrupt_configure_dt(&int_gpio, GPIO_INT_LEVEL_ACTIVE);

    // Configure button wake source
    gpio_pin_configure_dt(&btn, GPIO_INPUT);
    gpio_pin_interrupt_configure_dt(&btn, GPIO_INT_LEVEL_ACTIVE);

    // Deep Sleep (System OFF)
    LOG_INF("Entering deep sleep (System OFF)");
    sys_poweroff();

    while (1) {
        k_sleep(K_FOREVER);
    }

    return 0;
}
```

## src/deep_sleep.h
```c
#pragma once


/**
 * @brief Enter deep sleep mode (System OFF).
 *
 * Configures the RTC interrupt GPIO and button GPIO as wake-up sources,
 * then transitions the system into deep sleep using @ref sys_poweroff.
 *
 * The system will restart upon a wake-up event triggered by either
 * the RTC interrupt or the button.
 *
 * @note This function does not return under normal operation, as the system
 *       powers off. The infinite loop after @ref sys_poweroff is a safeguard.
 *
 * @retval 0        Unreachable in normal operation
 * @retval -ENODEV  One or more required GPIO devices are not ready
 */
int enter_deep_sleep(void);
```

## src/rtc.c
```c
#include "rtc.h"

#include <zephyr/device.h>
#include <zephyr/devicetree.h>
#include <zephyr/logging/log.h>
#include <zephyr/drivers/rtc.h>
#include <zephyr/drivers/gpio.h>
#include <zephyr/drivers/i2c.h>
#include <zephyr/pm/pm.h>
#include <zephyr/pm/state.h>
#include <zephyr/sys/timeutil.h>
#include <zephyr/sys/byteorder.h>
#include <zephyr/sys/poweroff.h>
#include <zephyr/kernel.h>
#include <zephyr/sys/printk.h>
#include <hal/nrf_gpio.h>
#include <stdint.h>


LOG_MODULE_REGISTER(app_rtc, LOG_LEVEL_DBG);

int blink(int count, int duration);
int megablink(int countA, int countB, int spacing);

#define RV3028_NODE    DT_NODELABEL(rv3028)
static const struct device *rtc = DEVICE_DT_GET(RV3028_NODE);

bool ensure_rtc(void) {
    int ret = 0;

    ret = device_init(rtc);
    if(ret && ret != -EALREADY) {
        LOG_ERR("RTC init failed: %d", ret);
        return false;
    }

    return device_is_ready(rtc);
}

int rv3028_clear_tf(const struct device *dev);
int rtc_init(bool setTime) {
    if (!ensure_rtc()) {
        LOG_ERR("RTC is not ready");
        return -ENODEV;
    }

    int err = rv3028_clear_tf(rtc);
    if(err) {
        LOG_WRN("Failed to clear TF bit: %d", err);
        return -EIO;
    }

    struct rtc_time tm;
    err = rtc_get_time(rtc, &tm);

    if (err == -ENODATA || setTime) {
        LOG_INF("setting RTC time");
        /* RTC has invalid time (probably power loss). Set default. */
        struct rtc_time init = {
            .tm_year = 2025 - 1900,  /* years since 1900 */
            .tm_mon  = 0,             /* January = 0 */
            .tm_mday = 1,
            .tm_hour = 0,
            .tm_min  = 0,
            .tm_sec  = 0,
        };

        err = rtc_set_time(rtc, &init);
        if (err) {
            LOG_ERR("Failed to set RTC time: %d", err);
            return err;
        }
    } else if (err) {
        LOG_ERR("Failed to get RTC time: %d", err);
        return err;
    }

    return 0;
}

int get_rtc_unix_time(uint32_t* unix_timestamp) {
    if (!ensure_rtc()) {
        LOG_ERR("RTC is not ready");
        return -ENODEV;
    }

    if (unix_timestamp) {
        char buf[sizeof(struct rtc_time)]; // anti-aliasing
        int err = rtc_get_time(rtc, (struct rtc_time*)buf);
        if (err) {
            LOG_ERR("Failed to get RTC time: %d", err);
            return err;
        }
        *unix_timestamp = timeutil_timegm64((struct tm*)buf);
    }

    return 0;
}

BUILD_ASSERT(sizeof(struct rtc_time) >= sizeof(struct tm),
             "struct rtc_time must be at least as large as struct tm");

int set_rtc_unix_time(uint32_t unix_timestamp) {
    if (!ensure_rtc()) {
        LOG_ERR("RTC is not ready");
        return -ENODEV;
    }

    char buf[sizeof(struct rtc_time)];
    memset(buf, 0, sizeof(buf));

    struct tm *tm_ptr = (struct tm *)buf;
    struct rtc_time *rtc_ptr = (struct rtc_time *)buf;

    time_t ts = unix_timestamp;
    if (gmtime_r(&ts, tm_ptr) == NULL) {
        return -EINVAL;
    }

    return rtc_set_time(rtc, rtc_ptr);
}

int print_rtc_time(void) {
    if (!device_is_ready(rtc)) {
        return -ENODEV;
    }

    struct rtc_time tm;
    int err = rtc_get_time(rtc, &tm);
    if (err) {
        LOG_ERR("Failed to get RTC time: %d", err);
        return err;
    }
    LOG_INF("RTC: %04d-%02d-%02d %02d:%02d:%02d", 
        tm.tm_year + 1900,
        tm.tm_mon + 1,
        tm.tm_mday,
        tm.tm_hour,
        tm.tm_min,
        tm.tm_sec
    );

    return 0;
}


int get_rtc_cts_time(struct cts_current_time *cts)
{
    if (!ensure_rtc()) {
        LOG_ERR("RTC is not ready");
        return -ENODEV;
    }

    struct rtc_time rt;
    int err = rtc_get_time(rtc, &rt);
    if (err)
        return err;

    /* Convert Zephyr rtc_time → CTS (LE) */
    uint16_t year_le = sys_cpu_to_le16((uint16_t)(rt.tm_year + 1900));
    memcpy(&cts->year, &year_le, sizeof(year_le));

    cts->month  = (uint8_t)(rt.tm_mon + 1);             /* 0–11 → 1–12 */
    cts->day    = (uint8_t)rt.tm_mday;
    cts->hours  = (uint8_t)rt.tm_hour;
    cts->minutes = (uint8_t)rt.tm_min;
    cts->seconds = (uint8_t)rt.tm_sec;

    /* 0=Sun…6=Sat → CTS 1=Mon…7=Sun */
    cts->day_of_week = (rt.tm_wday == 0) ? 7 : rt.tm_wday;

    cts->fractions256 = 0;
    cts->adjust_reason = 0;

    return 0;
}

int set_rtc_cts_time(const struct cts_current_time *cts)
{
    if (!ensure_rtc()) {
        LOG_ERR("RTC is not ready");
        return -ENODEV;
    }

    struct rtc_time rt;
    memset(&rt, 0, sizeof(rt));

    /* Convert CTS (LE) → rtc_time (host) */
    uint16_t year_host = sys_le16_to_cpu(cts->year);
    rt.tm_year = (int)year_host - 1900;
    rt.tm_mon  = (int)cts->month - 1;                  /* 1–12 → 0–11 */

    rt.tm_mday = (int)cts->day;
    rt.tm_hour = (int)cts->hours;
    rt.tm_min  = (int)cts->minutes;
    rt.tm_sec  = (int)cts->seconds;

    /* CTS 1=Mon…7=Sun → 0=Sun…6=Sat */
    rt.tm_wday = (cts->day_of_week == 7) ? 0 : cts->day_of_week;

    return rtc_set_time(rtc, &rt);
}


#define RV3028_TD_4096HZ 0
#define RV3028_TD_64HZ 1
#define RV3028_TD_1HZ 2
#define RV3028_TD_MINUTE 3
int rv3028_enable_periodic_interrupt(const struct device *dev, uint8_t freq, uint16_t period);
int rv3028_get_timer_status(const struct device *dev, uint16_t *timer_status);

int enable_rtc_pit(uint16_t period_seconds) {
    int err;

    if (!ensure_rtc()) {
        LOG_ERR("RTC is not ready");
        return -ENODEV;
    }

    if (!device_is_ready(rtc)) {
        LOG_ERR("RTC is not ready");
        return -ENODEV;
    }

    err = rv3028_enable_periodic_interrupt(rtc, RV3028_TD_64HZ, period_seconds * 64);
    if (err) {
        LOG_ERR("Failed to enable RTC PIT: %d", err);
        return err;
    }

    return 0;
}

int get_rtc_pit_timer_status(uint16_t *timer_status) {
    int err;
    if (!ensure_rtc()) {
        LOG_ERR("RTC is not ready");
        return -ENODEV;
    }

    err = rv3028_get_timer_status(rtc, timer_status);
    if (err) {
        LOG_ERR("Failed to get RTC PIT timer status");
        return err;
    }

    return 0;
}
```

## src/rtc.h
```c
#pragma once
#include <stdbool.h>
#include <stdint.h>

struct device;

struct __attribute__((packed)) cts_current_time {
    uint16_t year;         /* little-endian */
    uint8_t  month;        /* 1–12 */
    uint8_t  day;          /* 1–31 */
    uint8_t  hours;        /* 0–23 */
    uint8_t  minutes;      /* 0–59 */
    uint8_t  seconds;      /* 0–59 */
    uint8_t  day_of_week;  /* 1 = Monday … 7 = Sunday */
    uint8_t  fractions256; /* 1/256th of a second */
    uint8_t  adjust_reason;/* bitfield */
};

int rtc_init(bool setTime);
int get_rtc_unix_time(uint32_t* unix_timestamp);
int set_rtc_unix_time(uint32_t unix_timestamp);
int print_rtc_time(void);
int get_rtc_cts_time(struct cts_current_time* unix_timestamp);
int set_rtc_cts_time(const struct cts_current_time* unix_timestamp);
int enable_rtc_pit(uint16_t period_seconds);
int get_rtc_pit_timer_status(uint16_t *timer_status);
```

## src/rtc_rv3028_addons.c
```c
#include <zephyr/device.h>
#include <zephyr/kernel.h>
#include <zephyr/drivers/i2c.h>
#include <zephyr/drivers/gpio.h>
#include <zephyr/logging/log.h>

LOG_MODULE_REGISTER(rv3028_timer_addon, LOG_LEVEL_DBG);

/*
    IMPORTANT

    Code below depends internal workings of RV3028 driver (drivers/rtc/rtc_v3028.c):
        - to access semaphore 
        - to access relevant i2c device

    If something stops working, check if RV3028 driver changed
*/

#define DT_DRV_COMPAT microcrystal_rv3028
#if DT_ANY_INST_HAS_PROP_STATUS_OKAY(int_gpios) &&                                                 \
	(defined(CONFIG_RTC_ALARM) || defined(CONFIG_RTC_UPDATE))
#define RV3028_INT_GPIOS_IN_USE 1
#endif


struct rv3028_config {
	const struct i2c_dt_spec i2c;
#ifdef RV3028_INT_GPIOS_IN_USE
	struct gpio_dt_spec gpio_int;
#endif /* RV3028_INT_GPIOS_IN_USE */
};

struct rv3028_data {
	struct k_sem lock;
};


static void rv3028_lock_sem(const struct device *dev)
{
	struct rv3028_data *data = dev->data;

	(void)k_sem_take(&data->lock, K_FOREVER);
}

static void rv3028_unlock_sem(const struct device *dev)
{
	struct rv3028_data *data = dev->data;

	k_sem_give(&data->lock);
}

#define RV3028_REG_STATUS               0x0E
#define RV3028_REG_CONTROL1             0x0F
#define RV3028_REG_CONTROL2             0x10
#define RV3028_REG_TV0                  0x0A
#define RV3028_REG_TV1                  0x0B
#define RV3028_REG_TV1_MASK             GENMASK(3, 0)
#define RV3028_REG_TS0                  0x0C
#define RV3028_REG_TS1                  0x0D
#define RV3028_REG_TS1_MASK             GENMASK(3, 0)

#define RV3028_CONTROL1_TD              GENMASK(1, 0)
#define RV3028_CONTROL1_TE              BIT(2)
#define RV3028_CONTROL1_TRPT            BIT(7)
#define RV3028_CONTROL2_TIE             BIT(4)
#define RV3028_STATUS_TF                BIT(3)

int rv3028_enable_periodic_interrupt(const struct device *dev, uint8_t freq, uint16_t period) {

    if (freq > 3 || period > 0xFFF) {
        return -EINVAL;
    }

    const struct rv3028_config *config = dev->config;
    int err = 0;
    rv3028_lock_sem(dev);

    /*
    1. Initialize bits TE, TIE and TF to 0. In that order, to prevent inadvertent interrupts on INT pin.
    2. Set TRPT bit to 1 if periodic countdown is needed (Repeat Mode).
    3. Choose the Timer Clock Frequency and write the corresponding value in the TD field.
    4. Choose the Countdown Period based on the Timer Clock Frequency, and write the corresponding Timer
    Value to the registers Timer Value 0 (0Ah) and Timer Value 1 (0Bh). See following table.
    5. Set the TIE bit to 1 if you want to get a hardware interrupt on INT pin.
    6. Set CTIE bit to 1 to enable clock output when a timer interrupt occurs. See also CLOCK OUTPUT
    SCHEME.
    7. Set the TIE and CLKOE bits to 1 and the FD field to 110 if you want to get the timer signal on CLKOUT.
    8. Set the TE bit from 0 to 1 to start the Periodic Countdown Timer. The countdown starts at the rising edge of
    the SCL signal after Bit 0 of the Address 0Fh is transferred. See subsequent Figure that shows the start
    timing.
     */

    err = i2c_reg_update_byte_dt(&config->i2c, RV3028_REG_CONTROL1, RV3028_CONTROL1_TE, 0);
	if (err) {
		LOG_ERR("failed to clear RV3028_CONTROL1_TE: %d", err);
		return err;
	}


    err = i2c_reg_update_byte_dt(&config->i2c, RV3028_REG_CONTROL2, RV3028_CONTROL2_TIE, 0);
	if (err) {
		LOG_ERR("failed to clear RV3028_CONTROL2_TIE: %d", err);
		return err;
	}


    err = i2c_reg_update_byte_dt(&config->i2c, RV3028_REG_STATUS, RV3028_STATUS_TF, 0);
	if (err) {
		LOG_ERR("failed to clear RV3028_STATUS_TF: %d", err);
		return err;
	}

    err = i2c_reg_update_byte_dt(&config->i2c, RV3028_REG_CONTROL1, RV3028_CONTROL1_TRPT, RV3028_CONTROL1_TRPT);
	if (err) {
		LOG_ERR("failed to set RV3028_CONTROL1_TRPT: %d", err);
		return err;
	}

    // 0b11 =  1/60Hz
    err = i2c_reg_update_byte_dt(&config->i2c, RV3028_REG_CONTROL1, RV3028_CONTROL1_TD, freq);
	if (err) {
		LOG_ERR("failed to set RV3028_CONTROL1_TD: %d", err);
		return err;
	}

    err = i2c_reg_update_byte_dt(&config->i2c, RV3028_REG_TV0, 0xFF, period & 0xFF);
	if (err) {
		LOG_ERR("failed to set RV3028_REG_TV0: %d", err);
		return err;
	}

    err = i2c_reg_update_byte_dt(&config->i2c, RV3028_REG_TV1, RV3028_REG_TV1_MASK, period >> 8);
	if (err) {
		LOG_ERR("failed to set RV3028_REG_TV1: %d", err);
		return err;
	}

    err = i2c_reg_update_byte_dt(&config->i2c, RV3028_REG_CONTROL2, RV3028_CONTROL2_TIE, RV3028_CONTROL2_TIE);
	if (err) {
		LOG_ERR("failed to set RV3028_CONTROL2_TIE: %d", err);
		return err;
	}

    err = i2c_reg_update_byte_dt(&config->i2c, RV3028_REG_CONTROL1, RV3028_CONTROL1_TE, RV3028_CONTROL1_TE);
	if (err) {
		LOG_ERR("failed to set RV3028_CONTROL1_TE: %d", err);
		return err;
	}

    rv3028_unlock_sem(dev);
    return 0;
}


int rv3028_clear_tf(const struct device *dev) {
    const struct rv3028_config *config = dev->config;
    int err = 0;
    rv3028_lock_sem(dev);

    err = i2c_reg_update_byte_dt(&config->i2c, RV3028_REG_STATUS, RV3028_STATUS_TF, 0);
	if (err) {
		LOG_ERR("failed to clear RV3028_STATUS_TF: %d", err);
		return err;
	}

    rv3028_unlock_sem(dev);
    return 0;
}


int rv3028_get_timer_status(const struct device *dev, uint16_t *timer_status) {
    const struct rv3028_config *config = dev->config;
    int err = 0;
    rv3028_lock_sem(dev);
    uint8_t buf[2] = {0, 0};

    err = i2c_reg_read_byte_dt(&config->i2c, RV3028_REG_TS0, buf);
	if (err) {
		LOG_ERR("failed to read RV3028_REG_TS0: %d", err);
		return err;
	}

    err = i2c_reg_read_byte_dt(&config->i2c, RV3028_REG_TS1, buf + 1);
	if (err) {
		LOG_ERR("failed to read RV3028_REG_TS1: %d", err);
		return err;
	}

    // LOG_DBG("RV3028_REG_TS* = [%u, %u]", buf[0], buf[1]);

    *timer_status = buf[0] | ((uint16_t)(buf[1] & RV3028_REG_TS1_MASK) << 8);

    rv3028_unlock_sem(dev);
    return 0;
}
```

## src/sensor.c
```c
#include "sensor.h"

#include <zephyr/device.h>
#include <zephyr/logging/log.h>
#include <zephyr/drivers/sensor.h>
#include <zephyr/pm/device.h>
#include <zephyr/pm/device_runtime.h>
#include <zephyr/kernel.h>
#include <zephyr/logging/log.h>

LOG_MODULE_REGISTER(app_sensor, LOG_LEVEL_DBG);

#define HDC2080_NODE    DT_NODELABEL(hdc2080)
static const struct device *dev = DEVICE_DT_GET(HDC2080_NODE);

int hdc2080_get_temp_humidity(struct SensorData* data)
{
    int ret = device_init(dev);
    if (ret && ret != -EALREADY) {
        LOG_ERR("HDC2080 couldn't be initialized: %d", ret);
        return -ENODEV;
    }

    if (!device_is_ready(dev)) {
        LOG_ERR("HDC2080 is not ready");
        return -ENODEV;
    }

    ret = sensor_sample_fetch(dev);
    if (ret < 0) { 
        LOG_ERR("HDC2080 sensor_sample_fetch() failed: %d", ret);
        return ret;
    }

    struct sensor_value t, h;

    ret = sensor_channel_get(dev, SENSOR_CHAN_AMBIENT_TEMP, &t);
    if (ret < 0) { 
        LOG_ERR("HDC2080 sensor_channel_get(SENSOR_CHAN_AMBIENT_TEMP) failed: %d", ret);
        return ret;
    }

    ret = sensor_channel_get(dev, SENSOR_CHAN_HUMIDITY, &h);
    if (ret < 0) { 
        LOG_ERR("HDC2080 sensor_channel_get(SENSOR_CHAN_HUMIDITY) failed: %d", ret);
        return ret;
    }

    data->magic = BEEEYE_MAGIC;
    data->temp = sensor_value_to_double(&t) * 256;
    data->hum = sensor_value_to_double(&h) * 256;

    return 0;
}
```

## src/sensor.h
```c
#pragma once

#include <stdint.h>

#define BEEEYE_MAGIC 0xBEEE

struct __attribute__((packed)) SensorData {
    uint16_t magic;
    int16_t temp;
    int16_t hum;
};

int hdc2080_get_temp_humidity(struct SensorData* data);
```

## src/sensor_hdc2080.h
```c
#pragma once

#include <stdint.h>

/**
 * @brief Read temperature and humidity scaled by 256 (fixed-point, 1/256 units).
 *
 * Retrieves the current temperature and relative humidity from the HDC2080 sensor.
 * The returned values are scaled by 256, i.e.:
 * - temperature = real_temperature * 256
 * - humidity    = real_humidity * 256
 *
 * Example:
 * - 25.5°C  -> 6528
 * - 50.0%RH -> 12800
 *
 * @param[out] temp     Pointer to store temperature (scaled by 256)
 * @param[out] humidity Pointer to store humidity (scaled by 256)
 *
 * @retval 0        Success
 * @retval -errno   Error code (Zephyr convention)
 */
int hdc2080_get_temp_humidity_x256(int16_t *temp, int16_t *humidity);


/**
 * @brief Read temperature and humidity scaled by 100 (centi-units, 0.01 resolution).
 *
 * Retrieves the current temperature and relative humidity from the HDC2080 sensor.
 * The returned values are scaled by 100, i.e.:
 * - temperature = real_temperature * 100
 * - humidity    = real_humidity * 100
 *
 * Example:
 * - 25.50°C -> 2550
 * - 50.00%RH -> 5000
 *
 * @param[out] temp     Pointer to store temperature (scaled by 100)
 * @param[out] humidity Pointer to store humidity (scaled by 100)
 *
 * @retval 0        Success
 * @retval -errno   Error code (Zephyr convention)
 */
int hdc2080_get_temp_humidity_x100(int16_t *temp, int16_t *humidity);


int hdc2080_init(void);
```
